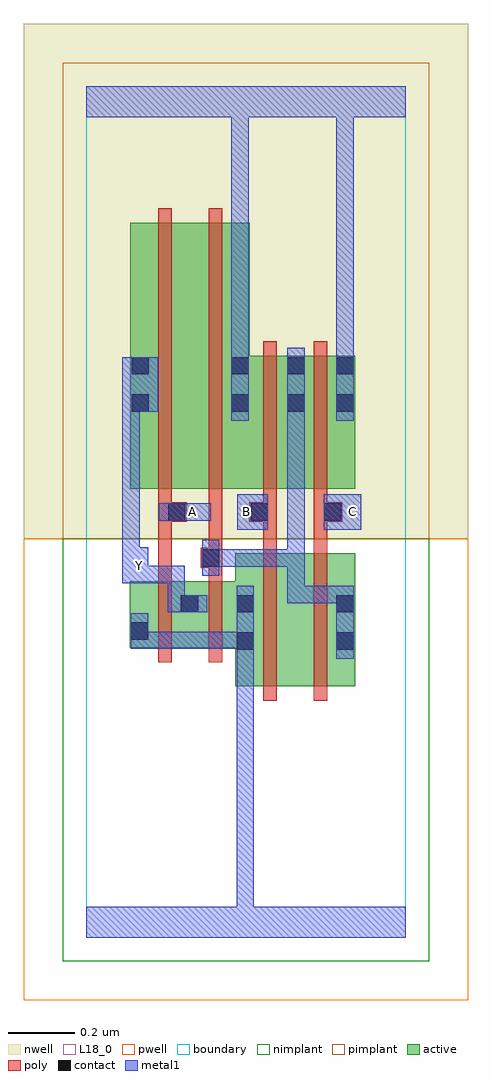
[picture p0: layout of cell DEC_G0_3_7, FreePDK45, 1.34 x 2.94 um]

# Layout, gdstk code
import gdstk
lib = gdstk.Library(unit=1e-6, precision=1e-09)
def R(c, l, rs):  # rectangles x0, y0, x1, y1
    for r in rs: c.add(gdstk.rectangle(r[:2], r[2:], *l))
active = (1, 0)
pwell = (2, 0)
nwell = (3, 0)
nimplant = (4, 0)
pimplant = (5, 0)
poly = (9, 0)
contact = (10, 0)
metal1 = (11, 0)
L18_0 = (18, 0)
boundary = (235, 0)

dec_g0_3_7 = lib.new_cell('DEC_G0_3_7')
R(dec_g0_3_7, active, [(0.448,0.756,0.628,1.156), (0.448,0.756,0.508,1.034), (0.628,0.756,0.808,1.156), (0.748,0.756,0.808,1.156), (0.13,0.872,0.34,1.072), (0.28,0.872,0.508,1.072), (0.13,0.892,0.19,1.072), (0.28,0.956,0.34,1.034), (0.132,1.35,0.312,2.15), (0.132,1.35,0.192,2.044), (0.312,1.35,0.492,2.15), (0.432,1.35,0.492,1.75), (0.432,1.35,0.66,1.75), (0.6,1.35,0.66,1.75), (0.6,1.35,0.808,1.75), (0.748,1.35,0.808,1.75)])
R(dec_g0_3_7, pwell, [(-0.188,-0.188,1.148,1.2)])
R(dec_g0_3_7, nwell, [(-0.188,1.2,1.148,2.748)])
R(dec_g0_3_7, nimplant, [(-0.072,-0.072,1.032,1.2)])
R(dec_g0_3_7, pimplant, [(-0.072,1.2,1.032,2.632)])
R(dec_g0_3_7, poly, [(0.532,0.712,0.572,1.2), (0.684,0.712,0.724,1.2), (0.216,0.828,0.256,1.116), (0.368,0.828,0.408,1.116), (0.216,1.076,0.256,1.29), (0.368,1.076,0.408,1.152), (0.344,1.112,0.408,1.172), (0.368,1.132,0.408,1.172), (0.368,1.132,0.408,1.172), (0.368,1.132,0.408,1.346), (0.532,1.16,0.572,1.29), (0.684,1.16,0.724,1.29), (0.216,1.25,0.256,1.29), (0.216,1.25,0.256,1.29), (0.216,1.25,0.302,1.31), (0.49,1.25,0.572,1.31), (0.532,1.25,0.572,1.29), (0.532,1.25,0.572,1.29), (0.684,1.25,0.724,1.29), (0.684,1.25,0.724,1.29), (0.684,1.25,0.77,1.31), (0.216,1.27,0.256,1.346), (0.532,1.27,0.572,1.346), (0.684,1.27,0.724,1.346), (0.216,1.306,0.256,2.194), (0.368,1.306,0.408,2.194), (0.532,1.306,0.572,1.794), (0.684,1.306,0.724,1.794)])
R(dec_g0_3_7, contact, [(0.452,0.866,0.504,0.918), (0.752,0.866,0.804,0.918), (0.134,0.896,0.186,0.948), (0.284,0.978,0.336,1.03), (0.452,0.978,0.504,1.03), (0.752,0.978,0.804,1.03), (0.348,1.116,0.4,1.168), (0.246,1.254,0.298,1.306), (0.494,1.254,0.546,1.306), (0.714,1.254,0.766,1.306), (0.136,1.582,0.188,1.634), (0.436,1.582,0.488,1.634), (0.604,1.582,0.656,1.634), (0.752,1.582,0.804,1.634), (0.136,1.694,0.188,1.746), (0.436,1.694,0.488,1.746), (0.604,1.694,0.656,1.746), (0.752,1.694,0.804,1.746)])
R(dec_g0_3_7, metal1, [(0,0,0.96,0.092), (0.452,0.04,0.504,0.092), (0.452,0.04,0.504,0.092), (0.452,0.04,0.504,0.092), (0.452,0.04,0.504,0.092), (0.452,0.04,0.504,0.092), (0.452,0.04,0.504,0.092), (0.452,0.04,0.504,0.092), (0.452,0.04,0.504,0.092), (0.452,0.04,0.504,0.092), (0.452,0.04,0.504,0.092), (0.452,0.04,0.504,0.092), (0.452,0.04,0.504,0.092), (0.452,0.04,0.504,0.89), (0.452,0.838,0.504,1.058), (0.752,0.838,0.804,1.058), (0.134,0.868,0.186,0.92), (0.134,0.868,0.186,0.92), (0.134,0.868,0.186,0.976), (0.134,0.868,0.378,0.92), (0.326,0.868,0.378,0.92), (0.326,0.868,0.378,0.92), (0.326,0.868,0.378,0.92), (0.326,0.868,0.378,0.92), (0.326,0.868,0.378,0.92), (0.326,0.868,0.378,0.92), (0.326,0.868,0.378,0.92), (0.326,0.868,0.504,0.92), (0.244,0.978,0.296,1.118), (0.244,0.978,0.364,1.03), (0.604,1.006,0.656,1.058), (0.604,1.006,0.804,1.058), (0.604,1.006,0.656,1.168), (0.752,1.006,0.804,1.058), (0.752,1.006,0.804,1.058), (0.108,1.066,0.186,1.174), (0.134,1.066,0.186,1.118), (0.134,1.066,0.186,1.118), (0.134,1.066,0.296,1.118), (0.244,1.066,0.296,1.118), (0.348,1.088,0.4,1.196), (0.348,1.116,0.488,1.168), (0.436,1.116,0.488,1.168), (0.436,1.116,0.656,1.168), (0.604,1.116,0.656,1.168), (0.604,1.116,0.656,1.168), (0.604,1.116,0.656,1.168), (0.604,1.116,0.656,1.606), (0.108,1.122,0.16,1.634), (0.454,1.226,0.546,1.334), (0.714,1.226,0.826,1.334), (0.218,1.254,0.374,1.306), (0.436,1.554,0.488,1.774), (0.604,1.554,0.656,1.606), (0.604,1.554,0.656,1.606), (0.604,1.554,0.656,1.774), (0.752,1.554,0.804,1.774), (0.108,1.582,0.16,1.634), (0.108,1.582,0.16,1.634), (0.108,1.582,0.216,1.746), (0.436,1.722,0.488,1.774), (0.436,1.722,0.488,1.774), (0.436,1.722,0.488,2.52), (0.752,1.722,0.804,1.774), (0.752,1.722,0.804,1.774), (0.752,1.722,0.804,1.774), (0.752,1.722,0.804,1.774), (0.752,1.722,0.804,1.774), (0.752,1.722,0.804,1.774), (0.752,1.722,0.804,2.52), (0,2.468,0.96,2.56), (0.436,2.468,0.488,2.52), (0.436,2.468,0.488,2.52), (0.436,2.468,0.488,2.52), (0.436,2.468,0.488,2.52), (0.436,2.468,0.488,2.52), (0.436,2.468,0.488,2.52), (0.752,2.468,0.804,2.52), (0.752,2.468,0.804,2.52), (0.752,2.468,0.804,2.52), (0.752,2.468,0.804,2.52), (0.752,2.468,0.804,2.52), (0.752,2.468,0.804,2.52), (0.752,2.468,0.804,2.52), (0.752,2.468,0.804,2.52), (0.752,2.468,0.804,2.52), (0.752,2.468,0.804,2.52)])
R(dec_g0_3_7, L18_0, [(0,0,0.96,0.092), (0.452,0.04,0.504,0.092), (0.452,0.04,0.504,0.092), (0.452,0.04,0.504,0.092), (0.452,0.04,0.504,0.092), (0.452,0.04,0.504,0.092), (0.452,0.04,0.504,0.092), (0.452,0.04,0.504,0.092), (0.452,0.04,0.504,0.092), (0.452,0.04,0.504,0.092), (0.452,0.04,0.504,0.092), (0.452,0.04,0.504,0.092), (0.452,0.04,0.504,0.092), (0.452,0.04,0.504,0.89), (0.452,0.838,0.504,1.058), (0.134,0.868,0.186,0.976), (0.134,0.868,0.186,0.92), (0.134,0.868,0.186,0.92), (0.134,0.868,0.378,0.92), (0.326,0.868,0.378,0.92), (0.326,0.868,0.378,0.92), (0.326,0.868,0.378,0.92), (0.326,0.868,0.378,0.92), (0.326,0.868,0.378,0.92), (0.326,0.868,0.378,0.92), (0.326,0.868,0.378,0.92), (0.326,0.868,0.504,0.92), (0.244,0.978,0.364,1.03), (0.244,0.978,0.296,1.118), (0.108,1.066,0.186,1.174), (0.134,1.066,0.186,1.118), (0.134,1.066,0.186,1.118), (0.134,1.066,0.296,1.118), (0.244,1.066,0.296,1.118), (0.134,1.094,0.186,1.146), (0.108,1.122,0.16,1.634), (0.454,1.226,0.546,1.334), (0.714,1.226,0.826,1.334), (0.218,1.254,0.374,1.306), (0.294,1.254,0.346,1.306), (0.454,1.254,0.506,1.306), (0.774,1.254,0.826,1.306), (0.436,1.554,0.488,1.774), (0.752,1.554,0.804,1.774), (0.108,1.582,0.16,1.634), (0.108,1.582,0.16,1.634), (0.108,1.582,0.216,1.746), (0.436,1.722,0.488,1.774), (0.436,1.722,0.488,1.774), (0.436,1.722,0.488,2.52), (0.752,1.722,0.804,1.774), (0.752,1.722,0.804,1.774), (0.752,1.722,0.804,1.774), (0.752,1.722,0.804,1.774), (0.752,1.722,0.804,1.774), (0.752,1.722,0.804,1.774), (0.752,1.722,0.804,2.52), (0,2.468,0.96,2.56), (0.436,2.468,0.488,2.52), (0.436,2.468,0.488,2.52), (0.436,2.468,0.488,2.52), (0.436,2.468,0.488,2.52), (0.436,2.468,0.488,2.52), (0.436,2.468,0.488,2.52), (0.752,2.468,0.804,2.52), (0.752,2.468,0.804,2.52), (0.752,2.468,0.804,2.52), (0.752,2.468,0.804,2.52), (0.752,2.468,0.804,2.52), (0.752,2.468,0.804,2.52), (0.752,2.468,0.804,2.52), (0.752,2.468,0.804,2.52), (0.752,2.468,0.804,2.52), (0.752,2.468,0.804,2.52)])
R(dec_g0_3_7, boundary, [(0,0,0.96,2.56)])
dec_g0_3_7.add(gdstk.Label('A', (0.32,1.28), layer=11, texttype=0))
dec_g0_3_7.add(gdstk.Label('B', (0.48,1.28), layer=11, texttype=0))
dec_g0_3_7.add(gdstk.Label('C', (0.8,1.28), layer=11, texttype=0))
dec_g0_3_7.add(gdstk.Label('Y', (0.16,1.12), layer=11, texttype=0))

lib.write_gds('DEC_G0_3_7.gds')
